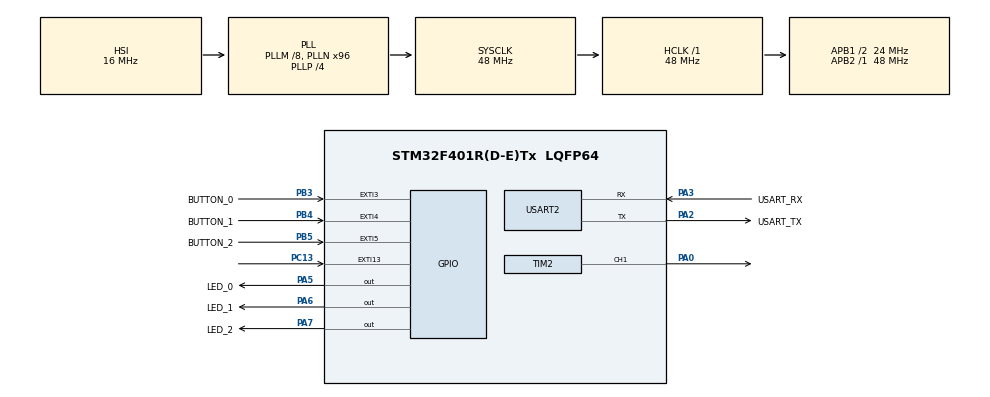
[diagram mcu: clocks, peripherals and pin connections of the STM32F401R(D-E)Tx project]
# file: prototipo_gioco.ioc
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FREERTOS.Tasks01=GameTask,0,128,StartGameTask,Default,NULL,Dynamic,NULL,NULL
FREERTOS.Timers01=TimeoutTimer,TimeoutCallback,osTimerOnce,Default,NULL,Dynamic,NULL;myTimer02,Callback02,osTimerPeriodic,Default,NULL,Dynamic,NULL
FREERTOS.configUSE_NEWLIB_REENTRANT=1
FREERTOS.configUSE_TIMERS=1
Mcu.Family=STM32F4
Mcu.Name=STM32F401R(D-E)Tx
Mcu.Package=LQFP64
NVIC.EXTI15_10_IRQn=true\:5\:0\:false\:false\:true\:true\:true\:true\:true
NVIC.EXTI3_IRQn=true\:5\:0\:false\:false\:true\:false\:true\:true\:true
NVIC.EXTI4_IRQn=true\:5\:0\:false\:false\:true\:false\:true\:true\:true
NVIC.EXTI9_5_IRQn=true\:5\:0\:false\:false\:true\:false\:true\:true\:true
NVIC.PriorityGroup=NVIC_PRIORITYGROUP_4
NVIC.TIM1_UP_TIM10_IRQn=true\:15\:0\:false\:false\:true\:false\:false\:true\:true
NVIC.TIM2_IRQn=true\:5\:0\:false\:false\:true\:true\:true\:true\:true
NVIC.TimeBase=TIM1_UP_TIM10_IRQn
NVIC.TimeBaseIP=TIM1
PA0-WKUP.Signal=S_TIM2_CH1_ETR
PA13.Mode=Serial_Wire
PA13.Signal=SYS_JTMS-SWDIO
PA14.GPIO_Label=TCK
PA14.Mode=Serial_Wire
PA14.Signal=SYS_JTCK-SWCLK
PA2.GPIO_Label=USART_TX
PA2.GPIO_Mode=GPIO_MODE_AF_PP
PA2.GPIO_PuPd=GPIO_NOPULL
PA2.GPIO_Speed=GPIO_SPEED_FREQ_LOW
PA2.Mode=Asynchronous
PA2.Signal=USART2_TX
PA3.GPIO_Label=USART_RX
PA3.GPIO_Mode=GPIO_MODE_AF_PP
PA3.GPIO_PuPd=GPIO_NOPULL
PA3.GPIO_Speed=GPIO_SPEED_FREQ_LOW
PA3.Mode=Asynchronous
PA3.Signal=USART2_RX
PA5.GPIO_Label=LED_0
PA5.GPIO_Mode=GPIO_MODE_OUTPUT_PP
PA5.GPIO_PuPd=GPIO_NOPULL
PA5.GPIO_Speed=GPIO_SPEED_FREQ_LOW
PA5.Signal=GPIO_Output
PA6.GPIO_Label=LED_1
PA6.Signal=GPIO_Output
PA7.GPIO_Label=LED_2
PA7.Signal=GPIO_Output
PB3.GPIO_Label=BUTTON_0
PB3.GPIO_ModeDefaultEXTI=GPIO_MODE_IT_FALLING
PB3.GPIO_PuPd=GPIO_PULLUP
PB3.Signal=GPXTI3
PB4.GPIO_Label=BUTTON_1
PB4.GPIO_ModeDefaultEXTI=GPIO_MODE_IT_FALLING
PB4.GPIO_PuPd=GPIO_PULLUP
PB4.Signal=GPXTI4
PB5.GPIO_Label=BUTTON_2
PB5.GPIO_ModeDefaultEXTI=GPIO_MODE_IT_FALLING
PB5.GPIO_PuPd=GPIO_PULLUP
PB5.Signal=GPXTI5
PC13-ANTI_TAMP.GPIO_ModeDefaultEXTI=GPIO_MODE_IT_FALLING
PC13-ANTI_TAMP.Signal=GPXTI13
PC14-OSC32_IN.Mode=LSE-External-Oscillator
PC14-OSC32_IN.Signal=RCC_OSC32_IN
PC15-OSC32_OUT.Mode=LSE-External-Oscillator
PC15-OSC32_OUT.Signal=RCC_OSC32_OUT
PH0\ -\ OSC_IN.Mode=HSE-External-Clock-Source
PH0\ -\ OSC_IN.Signal=RCC_OSC_IN
PH1\ -\ OSC_OUT.Mode=HSE-External-Clock-Source
PH1\ -\ OSC_OUT.Signal=RCC_OSC_OUT
ProjectManager.HeapSize=0x200
ProjectManager.StackSize=0x400
ProjectManager.TargetToolchain=STM32CubeIDE
RCC.48MHZClocksFreq_Value=27428571.42857143
RCC.AHBFreq_Value=48000000
RCC.APB1CLKDivider=RCC_HCLK_DIV2
RCC.APB1Freq_Value=24000000
RCC.APB1TimFreq_Value=48000000
RCC.APB2Freq_Value=48000000
RCC.APB2TimFreq_Value=48000000
RCC.CortexFreq_Value=48000000
RCC.HCLKFreq_Value=48000000
RCC.HSE_VALUE=8000000
RCC.HSI_VALUE=16000000
RCC.PLLM=8
RCC.PLLN=96
RCC.PLLP=RCC_PLLP_DIV4
RCC.PLLQ=7
RCC.SYSCLKFreq_VALUE=48000000
RCC.SYSCLKSource=RCC_SYSCLKSOURCE_PLLCLK
RCC.VCOOutputFreq_Value=192000000
SH.S_TIM2_CH1_ETR.0=TIM2_CH1,PWM Generation1 CH1
TIM2.AutoReloadPreload=TIM_AUTORELOAD_PRELOAD_ENABLE
TIM2.Channel-PWM\ Generation1\ CH1=TIM_CHANNEL_1
TIM2.Period=1000
TIM2.Prescaler=84 - 1
USART2.VirtualMode=VM_ASYNC
VP_FREERTOS_VS_CMSIS_V1.Mode=CMSIS_V1
VP_SYS_VS_tim1.Mode=TIM1
VP_TIM2_VS_ClockSourceINT.Mode=Internal
board=NUCLEO-F401RE

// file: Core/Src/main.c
/* USER CODE BEGIN Header */
/**
  ******************************************************************************
  * @file           : main.c
  * @brief          : Main program body
  ******************************************************************************
  */
/* USER CODE END Header */
#include "main.h"
#include "cmsis_os.h"

/* USER CODE BEGIN Includes */
#include "game.h"
#include "constants.h"
#include "buzzer.h"
/* USER CODE END Includes */

TIM_HandleTypeDef htim2;

UART_HandleTypeDef huart2;

osThreadId GameTaskHandle;
osTimerId TimeoutTimerHandle;
osTimerId myTimer02Handle;
/* USER CODE BEGIN PV */
typedef struct {  //struct with port and pin associated
    GPIO_TypeDef* port;
    uint16_t pin;
   // uint16_t frequency; //for generating a note with the buzzer
} HardwareElement_t;

HardwareElement_t array_leds[NUM_BUTTONS] = {
    {GPIOA, GPIO_PIN_5}, // LED 0, DO
    {GPIOA, GPIO_PIN_6}, // LED 1, MI
    {GPIOA, GPIO_PIN_7}  // LED 2, SOL
};

HardwareElement_t array_bottoni[NUM_BUTTONS] = {
    {GPIOB, GPIO_PIN_3}, // BUTTON 0
    {GPIOB, GPIO_PIN_4}, // BUTTON 1
    {GPIOB, GPIO_PIN_5}  // BUTTON 2
};

volatile uint8_t buttonPressed = 0; // 0 se non premuto, 1 se premuto
volatile uint8_t timeoutOccurred = 0;
volatile int8_t pressedButtonIndex = -1; //to understand wich button has been pressed
uint32_t startTime = 0;
uint8_t targetIndex = 0; //the led that turned on
uint32_t reactionTime = 0;

extern int combo; //tiene conto la combo
extern int score; //tiene conto dello score
extern const GameNote_t melody[MELODY_LENGTH]; //my melody

//int timer_value = 0; // valuta tempo di risposta

/* USER CODE END PV */

void SystemClock_Config(void);
static void MX_GPIO_Init(void);
static void MX_TIM2_Init(void);
static void MX_USART2_UART_Init(void);
void StartGameTask(void const * argument);
void TimeoutCallback(void const * argument);
void Callback02(void const * argument);

/* USER CODE BEGIN PFP */
#ifdef __GNUC__
  #define PUTCHAR_PROTOTYPE int __io_putchar(int ch)
#else
  #define PUTCHAR_PROTOTYPE int fputc(int ch, FILE *f)
#endif

PUTCHAR_PROTOTYPE
{
  HAL_UART_Transmit(&huart2, (uint8_t *)&ch, 1, 0xFFFF);
  return ch;
}
/* USER CODE END PFP */

/* USER CODE BEGIN 0 */
// Funzione magica per generare una nota
void PlayTone(uint16_t freq) {
    if (freq == 0) return; // Se è 0, non suono

    // La matematica del suono: il timer va a 1 MHz (1.000.000 Hz)
    // Per avere 440 Hz, devo fargli contare fino a (1000000 / 440)
    uint32_t arr_value = 1000000 / freq;

    __HAL_TIM_SET_AUTORELOAD(&htim2, arr_value);     // Imposta l'altezza della nota
    __HAL_TIM_SET_COMPARE(&htim2, TIM_CHANNEL_1, arr_value / 2); // Imposta il volume (Duty cycle 50%)

    HAL_TIM_PWM_Start(&htim2, TIM_CHANNEL_1);        // Accendi il suono!
}

// Funzione per spegnere il suono
void StopTone() {
    HAL_TIM_PWM_Stop(&htim2, TIM_CHANNEL_1);
}
/* USER CODE END 0 */

int main(void)
{

  /* MCU Configuration--------------------------------------------------------*/

  /* Reset of all peripherals, Initializes the Flash interface and the Systick. */
  HAL_Init();

  /* Configure the system clock */
  SystemClock_Config();

  /* Initialize all configured peripherals */
  MX_GPIO_Init();
  MX_TIM2_Init();
  MX_USART2_UART_Init();
  /* USER CODE BEGIN 2 */
  // Leggiamo un valore a caso dalla memoria per inizializzare il random

  printf("\r\n=== RHYTHM GAME PROTOTYPE ===\r\n");
  //createDummySong();
  /* USER CODE END 2 */

  /* Create the timer(s) */
  /* definition and creation of TimeoutTimer */
  osTimerDef(TimeoutTimer, TimeoutCallback);
  TimeoutTimerHandle = osTimerCreate(osTimer(TimeoutTimer), osTimerOnce, NULL);

  /* definition and creation of myTimer02 */
  osTimerDef(myTimer02, Callback02);
  myTimer02Handle = osTimerCreate(osTimer(myTimer02), osTimerPeriodic, NULL);

  /* Create the thread(s) */
  /* definition and creation of GameTask */
  osThreadDef(GameTask, StartGameTask, osPriorityNormal, 0, 128);
  GameTaskHandle = osThreadCreate(osThread(GameTask), NULL);

  /* Start scheduler */
  osKernelStart();

  /* We should never get here as control is now taken by the scheduler */

  /* Infinite loop */
  while (1)
  {

  }
}

void SystemClock_Config(void)
{
  RCC_OscInitTypeDef RCC_OscInitStruct = {0};
  RCC_ClkInitTypeDef RCC_ClkInitStruct = {0};

  /** Configure the main internal regulator output voltage
  */
  __HAL_RCC_PWR_CLK_ENABLE();
  __HAL_PWR_VOLTAGESCALING_CONFIG(PWR_REGULATOR_VOLTAGE_SCALE2);

  /** Initializes the RCC Oscillators according to the specified parameters
  * in the RCC_OscInitTypeDef structure.
  */
  RCC_OscInitStruct.OscillatorType = RCC_OSCILLATORTYPE_HSI;
  RCC_OscInitStruct.HSIState = RCC_HSI_ON;
  RCC_OscInitStruct.HSICalibrationValue = RCC_HSICALIBRATION_DEFAULT;
  RCC_OscInitStruct.PLL.PLLState = RCC_PLL_ON;
  RCC_OscInitStruct.PLL.PLLSource = RCC_PLLSOURCE_HSI;
  RCC_OscInitStruct.PLL.PLLM = 8;
  RCC_OscInitStruct.PLL.PLLN = 96;
  RCC_OscInitStruct.PLL.PLLP = RCC_PLLP_DIV4;
  RCC_OscInitStruct.PLL.PLLQ = 7;
  if (HAL_RCC_OscConfig(&RCC_OscInitStruct) != HAL_OK)
  {
    Error_Handler();
  }

  /** Initializes the CPU, AHB and APB buses clocks
  */
  RCC_ClkInitStruct.ClockType = RCC_CLOCKTYPE_HCLK|RCC_CLOCKTYPE_SYSCLK
                              |RCC_CLOCKTYPE_PCLK1|RCC_CLOCKTYPE_PCLK2;
  RCC_ClkInitStruct.SYSCLKSource = RCC_SYSCLKSOURCE_PLLCLK;
  RCC_ClkInitStruct.AHBCLKDivider = RCC_SYSCLK_DIV1;
  RCC_ClkInitStruct.APB1CLKDivider = RCC_HCLK_DIV2;
  RCC_ClkInitStruct.APB2CLKDivider = RCC_HCLK_DIV1;

  if (HAL_RCC_ClockConfig(&RCC_ClkInitStruct, FLASH_LATENCY_1) != HAL_OK)
  {
    Error_Handler();
  }
}

static void MX_TIM2_Init(void)
{

  TIM_ClockConfigTypeDef sClockSourceConfig = {0};
  TIM_MasterConfigTypeDef sMasterConfig = {0};
  TIM_OC_InitTypeDef sConfigOC = {0};

  htim2.Instance = TIM2;
  htim2.Init.Prescaler = 84 - 1;
  htim2.Init.CounterMode = TIM_COUNTERMODE_UP;
  htim2.Init.Period = 1000;
  htim2.Init.ClockDivision = TIM_CLOCKDIVISION_DIV1;
  htim2.Init.AutoReloadPreload = TIM_AUTORELOAD_PRELOAD_ENABLE;
  if (HAL_TIM_Base_Init(&htim2) != HAL_OK)
  {
    Error_Handler();
  }
  sClockSourceConfig.ClockSource = TIM_CLOCKSOURCE_INTERNAL;
  if (HAL_TIM_ConfigClockSource(&htim2, &sClockSourceConfig) != HAL_OK)
  {
    Error_Handler();
  }
  if (HAL_TIM_PWM_Init(&htim2) != HAL_OK)
  {
    Error_Handler();
  }
  sMasterConfig.MasterOutputTrigger = TIM_TRGO_RESET;
  sMasterConfig.MasterSlaveMode = TIM_MASTERSLAVEMODE_DISABLE;
  if (HAL_TIMEx_MasterConfigSynchronization(&htim2, &sMasterConfig) != HAL_OK)
  {
    Error_Handler();
  }
  sConfigOC.OCMode = TIM_OCMODE_PWM1;
  sConfigOC.Pulse = 0;
  sConfigOC.OCPolarity = TIM_OCPOLARITY_HIGH;
  sConfigOC.OCFastMode = TIM_OCFAST_DISABLE;
  if (HAL_TIM_PWM_ConfigChannel(&htim2, &sConfigOC, TIM_CHANNEL_1) != HAL_OK)
  {
    Error_Handler();
  }
  HAL_TIM_MspPostInit(&htim2);

}

static void MX_USART2_UART_Init(void)
{

  huart2.Instance = USART2;
  huart2.Init.BaudRate = 115200;
  huart2.Init.WordLength = UART_WORDLENGTH_8B;
  huart2.Init.StopBits = UART_STOPBITS_1;
  huart2.Init.Parity = UART_PARITY_NONE;
  huart2.Init.Mode = UART_MODE_TX_RX;
  huart2.Init.HwFlowCtl = UART_HWCONTROL_NONE;
  huart2.Init.OverSampling = UART_OVERSAMPLING_16;
  if (HAL_UART_Init(&huart2) != HAL_OK)
  {
    Error_Handler();
  }

}

static void MX_GPIO_Init(void)
{
  GPIO_InitTypeDef GPIO_InitStruct = {0};

  /* GPIO Ports Clock Enable */
  __HAL_RCC_GPIOC_CLK_ENABLE();
  __HAL_RCC_GPIOH_CLK_ENABLE();
  __HAL_RCC_GPIOA_CLK_ENABLE();
  __HAL_RCC_GPIOB_CLK_ENABLE();

  /*Configure GPIO pin Output Level */
  HAL_GPIO_WritePin(GPIOA, LED_0_Pin|LED_1_Pin|LED_2_Pin, GPIO_PIN_RESET);

  /*Configure GPIO pin : PC13 */
  GPIO_InitStruct.Pin = GPIO_PIN_13;
  GPIO_InitStruct.Mode = GPIO_MODE_IT_FALLING;
  GPIO_InitStruct.Pull = GPIO_NOPULL;
  HAL_GPIO_Init(GPIOC, &GPIO_InitStruct);

  /*Configure GPIO pins : LED_0_Pin LED_1_Pin LED_2_Pin */
  GPIO_InitStruct.Pin = LED_0_Pin|LED_1_Pin|LED_2_Pin;
  GPIO_InitStruct.Mode = GPIO_MODE_OUTPUT_PP;
  GPIO_InitStruct.Pull = GPIO_NOPULL;
  GPIO_InitStruct.Speed = GPIO_SPEED_FREQ_LOW;
  HAL_GPIO_Init(GPIOA, &GPIO_InitStruct);

  /*Configure GPIO pins : BUTTON_0_Pin BUTTON_1_Pin BUTTON_2_Pin */
  GPIO_InitStruct.Pin = BUTTON_0_Pin|BUTTON_1_Pin|BUTTON_2_Pin;
  GPIO_InitStruct.Mode = GPIO_MODE_IT_FALLING;
  GPIO_InitStruct.Pull = GPIO_PULLUP;
  HAL_GPIO_Init(GPIOB, &GPIO_InitStruct);

  /* EXTI interrupt init*/
  HAL_NVIC_SetPriority(EXTI3_IRQn, 5, 0);
  HAL_NVIC_EnableIRQ(EXTI3_IRQn);

  HAL_NVIC_SetPriority(EXTI4_IRQn, 5, 0);
  HAL_NVIC_EnableIRQ(EXTI4_IRQn);

  HAL_NVIC_SetPriority(EXTI9_5_IRQn, 5, 0);
  HAL_NVIC_EnableIRQ(EXTI9_5_IRQn);

  HAL_NVIC_SetPriority(EXTI15_10_IRQn, 5, 0);
  HAL_NVIC_EnableIRQ(EXTI15_10_IRQn);

}

/* USER CODE BEGIN 4 */
void HAL_GPIO_EXTI_Callback(uint16_t GPIO_Pin) {
	if (buttonPressed == 0) {

	        // 1. IL TASTO BLU PER INIZIARE LA PARTITA!
	        if (GPIO_Pin == GPIO_PIN_13) {
	            buttonPressed = 1;
	            return; // Esci subito dalla funzione, non fare altro
	        }

	        // 2. I TASTI COLORATI PER GIOCARE
	        for (int i = 0; i < NUM_BUTTONS; i++) {
	            if (GPIO_Pin == array_bottoni[i].pin) {
	                // Trovato! Calcolo il tempo
	                reactionTime = osKernelSysTick() - startTime;
	                pressedButtonIndex = i; // Mi salvo QUALE ha premuto
	                buttonPressed = 1;      // Sblocco il gioco
	                break;                  // Esco dal ciclo for
	            }
	        }
	    }
	}

/* Callback del Timer (Fine del tempo) */
/* USER CODE END 4 */

void StartGameTask(void const * argument)
{
  /* USER CODE BEGIN 5 */
  for(;;)
  {
	  combo = 0;
	  score = 0;
      printf("\r\n=== RHYTHM GAME PROTOTYPE ===\r\n");
      printf("Press the button to start\r\n");

      buttonPressed = 0;

      // 1. Fase di attesa inizio
      while (buttonPressed == 0){
          osDelay(10); // Usa osDelay per non impallare FreeRTOS
      }

      buttonPressed = 0; // Resetta per il gioco
      printf("\r\nGame start! \r\n");

      uint8_t currentNoteIndex = 0; //to keep track of the melody

      // 2. Ciclo della Canzone
      for(int i = 0; i < SONGLENGHT; i++){
    	  HAL_GPIO_WritePin(array_leds[targetIndex].port, array_leds[targetIndex].pin, GPIO_PIN_RESET);
    	  StopTone(); //stops the note
          printf("\r\nWAIT FOR THE LED...\r\n");

          // Pausa casuale
        //  osDelay((rand() % SECONDS) + SECONDS_OFFSET);
          // 1. Aspetta il tempo dettato dallo spartito per questa specifica nota
                    osDelay(melody[currentNoteIndex].waitTime  * DIFFICULTY);
          // Prepariamo le variabili per questo round
          buttonPressed = 0;
                    timeoutOccurred = 0;
                    pressedButtonIndex = -1;

                    // 1. Estrai un numero a caso tra 0 e (NUM_BOTTONI - 1)
                    targetIndex = rand() % NUM_BUTTONS;

                    // 2. Accendi SOLO il led scelto dall'array!
                    HAL_GPIO_WritePin(array_leds[targetIndex].port, array_leds[targetIndex].pin, GPIO_PIN_SET);
                   // PlayTone(melody[currentNoteIndex]); //plays the note
                    PlayTone(melody[currentNoteIndex].frequency);
                    currentNoteIndex ++; //increment
                    if (currentNoteIndex >= MELODY_LENGTH) {
                                  currentNoteIndex = 0;
                        }
                    printf("PREMI IL BOTTONE %d!\r\n", targetIndex);

                    startTime = osKernelSysTick();
                    osTimerStart(TimeoutTimerHandle, 2000);

                    // 3. Aspetta il click...
                    while(buttonPressed == 0 && timeoutOccurred == 0) {
                        osDelay(1);
                    }

                    // 4. Spegni il led che era acceso
                    //HAL_GPIO_WritePin(array_leds[targetIndex].port, array_leds[targetIndex].pin, GPIO_PIN_RESET);
                    //StopTone(); //stops the note
                    osTimerStop(TimeoutTimerHandle);

                    // 5. Valutazione: ha premuto il tasto, ma è quello GIUSTO?
                    if (buttonPressed == 1) {
                        if (pressedButtonIndex == targetIndex) {
                            // HA PREMUTO IL TASTO GIUSTO!
                            printf("GIUSTO! Preso in: %lu ms\r\n", reactionTime);
                             scoreEvaluate(reactionTime);
                        } else {
                            // HA SBAGLIATO TASTO!
                            printf("ERRORE! Hai premuto il tasto sbagliato!\r\n");
                             scoreEvaluate(MISSVALUE);
                        }
                    }
                    else if (timeoutOccurred == 1) {
                        printf("MANCATO! Troppo lento.\r\n");
                         scoreEvaluate(MISSVALUE);
                    }
                   // osDelay(SPACE_BETWEEN_NOTES); // Pausa prima del prossimo LED
                    if(timeoutOccurred == 0 && reactionTime < (melody[currentNoteIndex].waitTime  * DIFFICULTY)){
                    	osDelay((melody[currentNoteIndex].waitTime  * DIFFICULTY) - reactionTime);
                          }
                    HAL_GPIO_WritePin(array_leds[targetIndex].port, array_leds[targetIndex].pin, GPIO_PIN_RESET);
                    StopTone(); //stops the note
      }
                          printf("\r\n------GAME OVER, THANKS FOR PLAYING!------\r\n");
                          HAL_GPIO_WritePin(array_leds[targetIndex].port, array_leds[targetIndex].pin, GPIO_PIN_RESET);
                          StopTone(); //stops the note
                          osDelay(3000); // Aspetta un po' prima di permettere di rigiocare
  }
  /* USER CODE END 5 */
}

/* TimeoutCallback function */
void TimeoutCallback(void const * argument)
{
  /* USER CODE BEGIN TimeoutCallback */
	timeoutOccurred = 1;
  /* USER CODE END TimeoutCallback */
}

/* Callback02 function */
void Callback02(void const * argument)
{
}

void HAL_TIM_PeriodElapsedCallback(TIM_HandleTypeDef *htim)
{
  if (htim->Instance == TIM1)
  {
    HAL_IncTick();
  }
}

void Error_Handler(void)
{
  __disable_irq();
  while (1)
  {
  }
}
